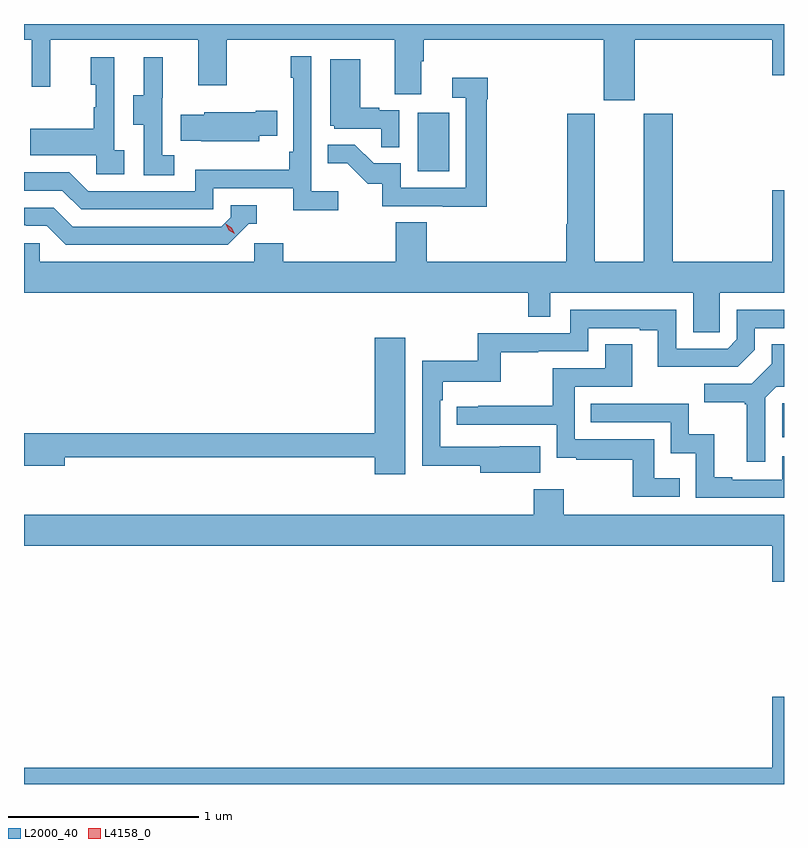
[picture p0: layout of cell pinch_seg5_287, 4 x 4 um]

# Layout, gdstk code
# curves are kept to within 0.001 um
import gdstk
lib = gdstk.Library(unit=1e-6, precision=1e-09)
def R(c, l, rs):  # rectangles x0, y0, x1, y1
    for r in rs: c.add(gdstk.rectangle(r[:2], r[2:], *l))
def P(c, l, *ps):  # polygons
    for p in ps: c.add(gdstk.Polygon(p, *l))
L2000_40 = (2000, 40)
L4158_0 = (4158, 0)

pinch_seg5_287 = lib.new_cell('pinch_seg5_287')
R(pinch_seg5_287, L2000_40, [(932.292,910.611,932.301,910.791), (930.374,912.012,930.538,912.319)])
P(pinch_seg5_287, L2000_40, [(931.516,912.704),(932.24,912.704),(932.24,912.516),(932.301,912.516),(932.301,912.787),(928.301,912.787),(928.301,912.704),(928.341,912.704),(928.341,912.456),(928.439,912.456),(928.439,912.704),(929.219,912.704),(929.219,912.465),(929.367,912.465),(929.367,912.704),(930.251,912.704),(930.251,912.418),(930.391,912.418),(930.391,912.592),(930.404,912.592),(930.404,912.704),(931.352,912.704),(931.352,912.387),(931.516,912.387)],
  [(929.956,911.908),(929.814,911.908),(929.814,912.616),(929.706,912.616),(929.706,912.503),(929.718,912.503),(929.718,912.115),(929.698,912.115),(929.698,912.019),(929.202,912.019),(929.202,911.907),(928.638,911.907),(928.539,912.006),(928.301,912.006),(928.301,911.91),(928.502,911.91),(928.601,911.811),(929.298,911.811),(929.298,911.922),(929.717,911.922),(929.717,911.806),(929.956,911.806)],
  [(928.828,912.122),(928.776,912.122),(928.776,912.613),(928.652,912.613),(928.652,912.468),(928.678,912.468),(928.678,912.35),(928.668,912.35),(928.668,912.235),(928.333,912.235),(928.333,912.095),(928.68,912.095),(928.68,911.997),(928.828,911.997)],
  [(929.092,912.095),(929.028,912.095),(929.028,912.399),(929.03,912.399),(929.03,912.613),(928.931,912.613),(928.931,912.411),(928.877,912.411),(928.877,912.256),(928.932,912.256),(928.932,911.992),(929.092,911.992)],
  [(930.276,912.333),(930.17,912.333),(930.17,912.346),(930.07,912.346),(930.07,912.601),(929.912,912.601),(929.912,912.252),(929.934,912.252),(929.934,912.237),(930.181,912.237),(930.181,912.139),(930.276,912.139)],
  [(930.736,912.392),(930.743,912.392),(930.743,912.505),(930.555,912.505),(930.555,912.399),(930.627,912.399),(930.627,911.925),(930.285,911.925),(930.285,912.054),(930.141,912.054),(930.043,912.152),(929.899,912.152),(929.899,912.053),(930.003,912.053),(930.11,911.946),(930.187,911.946),(930.187,911.829),(930.505,911.829),(930.505,911.824),(930.736,911.824)],
  [(929.539,912.2),(929.633,912.2),(929.633,912.33),(929.522,912.33),(929.522,912.322),(929.25,912.322),(929.25,912.31),(929.125,912.31),(929.125,912.173),(929.233,912.173),(929.233,912.17),(929.539,912.17)],
  [(931.962,911.372),(932.301,911.372),(932.301,911.911),(932.24,911.911),(932.24,911.536),(931.715,911.536),(931.715,912.315),(931.562,912.315),(931.562,911.536),(931.306,911.536),(931.306,912.315),(931.159,912.315),(931.159,911.732),(931.154,911.732),(931.154,911.536),(930.422,911.536),(930.422,911.744),(930.257,911.744),(930.257,911.536),(929.666,911.536),(929.666,911.634),(929.514,911.634),(929.514,911.536),(928.383,911.536),(928.383,911.634),(928.301,911.634),(928.301,911.372),(930.955,911.372),(930.955,911.245),(931.071,911.245),(931.071,911.372),(931.823,911.372),(931.823,911.164),(931.962,911.164)],
  [(929.484,911.736),(929.527,911.736),(929.527,911.832),(929.388,911.832),(929.388,911.769),(929.34,911.721),(928.557,911.721),(928.458,911.82),(928.301,911.82),(928.301,911.727),(928.314,911.727),(928.314,911.724),(928.421,911.724),(928.52,911.625),(929.373,911.625)],
  [(931.019,910.564),(930.492,910.563),(930.492,910.808),(930.506,910.808),(930.506,910.904),(930.811,910.904),(930.811,911.059),(931.007,911.059),(931.007,911.064),(931.272,911.064),(931.272,911.187),(931.541,911.187),(931.541,911.175),(931.637,911.175),(931.637,910.982),(932.058,910.983),(932.148,911.073),(932.148,911.187),(932.301,911.187),(932.301,911.283),(932.052,911.283),(932.052,911.127),(932.004,911.079),(931.734,911.079),(931.734,911.283),(931.176,911.283),(931.176,911.16),(930.69,911.16),(930.69,911.014),(930.396,911.014),(930.396,910.462),(930.701,910.462),(930.701,910.424),(931.019,910.424)],
  [(930.307,911.137),(930.146,911.137),(930.146,910.634),(928.301,910.634),(928.301,910.463),(928.516,910.463),(928.516,910.506),(930.146,910.506),(930.146,910.416),(930.307,910.416)],
  [(931.751,910.396),(931.617,910.396),(931.617,910.602),(931.2,910.602),(931.2,910.878),(931.501,910.878),(931.501,911.102),(931.361,911.102),(931.361,910.974),(931.084,910.974),(931.084,910.778),(930.691,910.778),(930.691,910.773),(930.579,910.773),(930.579,910.677),(931.104,910.677),(931.104,910.505),(931.207,910.505),(931.207,910.494),(931.506,910.494),(931.506,910.299),(931.751,910.299)],
  [(932.202,910.821),(932.259,910.878),(932.301,910.878),(932.301,911.102),(932.237,911.102),(932.237,911),(932.13,910.893),(931.881,910.893),(931.881,910.796),(932.094,910.796),(932.094,910.785),(932.105,910.785),(932.105,910.482),(932.202,910.482)],
  [(932.301,910.512),(932.292,910.512),(932.292,910.389),(932.029,910.389),(932.029,910.402),(931.933,910.402),(931.933,910.627),(931.8,910.627),(931.8,910.788),(931.285,910.788),(931.285,910.692),(931.704,910.692),(931.704,910.529),(931.836,910.529),(931.836,910.293),(932.301,910.293)],
  [(930.983,910.339),(930.983,910.204),(928.301,910.204),(928.301,910.04),(932.24,910.04),(932.24,909.852),(932.301,909.852),(932.301,910.204),(931.143,910.204),(931.143,910.339)],
  [(932.301,909.247),(932.24,909.247),(932.24,908.872),(928.301,908.872),(928.301,908.787),(932.301,908.787)])
P(pinch_seg5_287, L4158_0, [(929.409,911.682),(929.379,911.702),(929.364,911.735),(929.364,911.735),(929.364,911.735),(929.394,911.715),(929.41,911.682),(929.41,911.682)])

lib.write_gds('pinch_seg5_287.gds')
